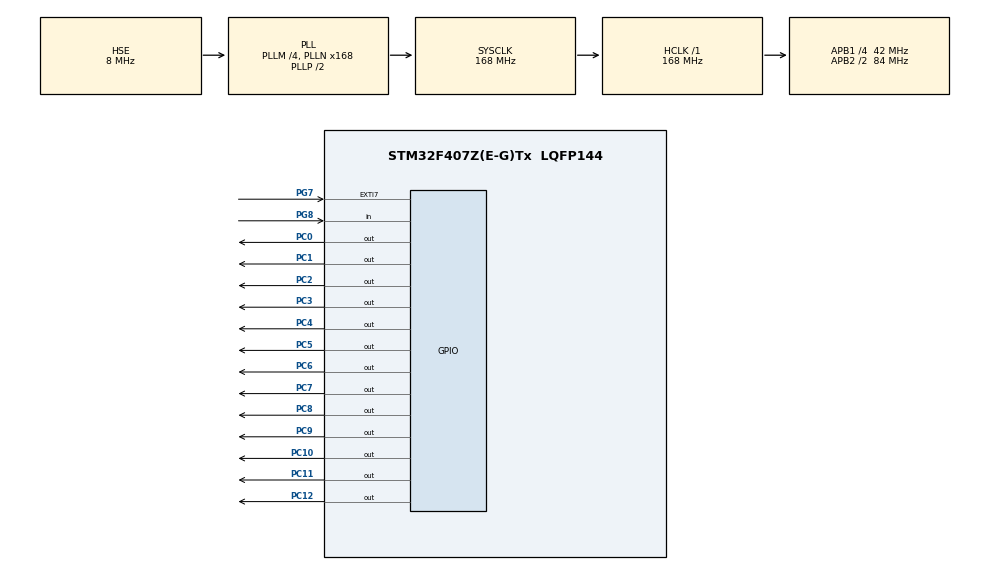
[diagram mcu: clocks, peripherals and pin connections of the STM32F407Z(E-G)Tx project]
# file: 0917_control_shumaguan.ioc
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Mcu.Family=STM32F4
Mcu.Name=STM32F407Z(E-G)Tx
Mcu.Package=LQFP144
NVIC.PriorityGroup=NVIC_PRIORITYGROUP_4
PA13.Mode=Serial_Wire
PA13.Signal=SYS_JTMS-SWDIO
PA14.Mode=Serial_Wire
PA14.Signal=SYS_JTCK-SWCLK
PC0.GPIO_Speed=GPIO_SPEED_FREQ_HIGH
PC0.Signal=GPIO_Output
PC1.GPIO_Speed=GPIO_SPEED_FREQ_HIGH
PC1.Signal=GPIO_Output
PC10.GPIO_Speed=GPIO_SPEED_FREQ_HIGH
PC10.Signal=GPIO_Output
PC11.GPIO_Speed=GPIO_SPEED_FREQ_HIGH
PC11.Signal=GPIO_Output
PC12.GPIO_Speed=GPIO_SPEED_FREQ_HIGH
PC12.Signal=GPIO_Output
PC2.GPIO_Speed=GPIO_SPEED_FREQ_HIGH
PC2.Signal=GPIO_Output
PC3.GPIO_Speed=GPIO_SPEED_FREQ_HIGH
PC3.Signal=GPIO_Output
PC4.GPIO_Speed=GPIO_SPEED_FREQ_HIGH
PC4.Signal=GPIO_Output
PC5.GPIO_Speed=GPIO_SPEED_FREQ_HIGH
PC5.Signal=GPIO_Output
PC6.GPIO_Speed=GPIO_SPEED_FREQ_HIGH
PC6.Signal=GPIO_Output
PC7.GPIO_Speed=GPIO_SPEED_FREQ_HIGH
PC7.Signal=GPIO_Output
PC8.GPIO_Speed=GPIO_SPEED_FREQ_HIGH
PC8.Signal=GPIO_Output
PC9.GPIO_Speed=GPIO_SPEED_FREQ_HIGH
PC9.Signal=GPIO_Output
PG7.GPIO_PuPd=GPIO_PULLDOWN
PG7.Signal=GPXTI7
PG8.GPIO_PuPd=GPIO_PULLDOWN
PG8.Signal=GPIO_Input
PH0-OSC_IN.Mode=HSE-External-Oscillator
PH0-OSC_IN.Signal=RCC_OSC_IN
PH1-OSC_OUT.Mode=HSE-External-Oscillator
PH1-OSC_OUT.Signal=RCC_OSC_OUT
ProjectManager.HeapSize=0x200
ProjectManager.StackSize=0x400
ProjectManager.TargetToolchain=CMake
RCC.48MHZClocksFreq_Value=84000000
RCC.AHBFreq_Value=168000000
RCC.APB1CLKDivider=RCC_HCLK_DIV4
RCC.APB1Freq_Value=42000000
RCC.APB1TimFreq_Value=84000000
RCC.APB2CLKDivider=RCC_HCLK_DIV2
RCC.APB2Freq_Value=84000000
RCC.APB2TimFreq_Value=168000000
RCC.CortexFreq_Value=168000000
RCC.HCLKFreq_Value=168000000
RCC.HSE_VALUE=8000000
RCC.HSI_VALUE=16000000
RCC.LSE_VALUE=32768
RCC.PLLM=4
RCC.PLLN=168
RCC.PLLSourceVirtual=RCC_PLLSOURCE_HSE
RCC.SYSCLKFreq_VALUE=168000000
RCC.SYSCLKSource=RCC_SYSCLKSOURCE_PLLCLK
RCC.VCOOutputFreq_Value=336000000
board=custom

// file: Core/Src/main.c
/* USER CODE BEGIN Header */
/**
  ******************************************************************************
  * @file           : main.c
  * @brief          : Main program body
  ******************************************************************************
  * @attention
  *
  * Copyright (c) 2025 STMicroelectronics.
  * All rights reserved.
  *
  * This software is licensed under terms that can be found in the LICENSE file
  * in the root directory of this software component.
  * If no LICENSE file comes with this software, it is provided AS-IS.
  *
  ******************************************************************************
  */
/* USER CODE END Header */
#include "main.h"
#include "gpio.h"

/* USER CODE BEGIN Includes */

#include <stdbool.h>

#include "6Bit_SegDisplay.h"
/* USER CODE END Includes */

/* USER CODE BEGIN PM */
void Seg_Control(uint16_t Wei,uint16_t Duan);
void Seg_Display(uint16_t a,uint16_t b,uint16_t c,uint16_t d,uint16_t e,uint16_t f);
void Time_Control(uint64_t Time_Value);
/* USER CODE END PM */

/* USER CODE BEGIN PV */
uint16_t count=0;

/* USER CODE END PV */

void SystemClock_Config(void);

/* USER CODE BEGIN 0 */

bool Key_Read(void)
{
	//uint16_t start_time=0;
	bool Key_Val=false;

	if(HAL_GPIO_ReadPin(GPIOG,GPIO_PIN_8)==GPIO_PIN_SET){
		HAL_Delay(15);
		while(HAL_GPIO_ReadPin(GPIOG,GPIO_PIN_8)==GPIO_PIN_SET){
			Seg_Display(count/100000%10,count/10000%10,count/1000%10,count/100%10,count/10%10,count%10);
		}
		HAL_Delay(15);
		Key_Val=true;
	}

	return Key_Val;
}

bool Key1_Read(void)
{
	//uint16_t start_time=0;
	bool Key_Val=false;

	if(HAL_GPIO_ReadPin(GPIOG,GPIO_PIN_7)==GPIO_PIN_SET){
		HAL_Delay(15);
		while(HAL_GPIO_ReadPin(GPIOG,GPIO_PIN_7)==GPIO_PIN_SET){
			Seg_Display(count/100000%10,count/10000%10,count/1000%10,count/100%10,count/10%10,count%10);
		}
		HAL_Delay(15);
		Key_Val=true;
	}

	return Key_Val;
}
uint8_t zhenzhi[16]={0x3F,0x06,0x5B,0x4F,0x66,0x6D,0x7D,0x07,0x7F,0x6F,0x77,0x7C,0x39,0x5E,0x79,0x71};

void Seg_Control(uint16_t Wei,uint16_t Duan)
{
	HAL_GPIO_WritePin(GPIOC,GPIO_DuanXuan,GPIO_PIN_SET);

	uint16_t temp;
	temp=GPIOC->ODR;
	temp&=0x003f;
	temp|=zhenzhi[Duan]<<6;
	GPIOC->ODR=temp;

	HAL_GPIO_WritePin(GPIOG,GPIO_Point,GPIO_PIN_RESET);

	switch(Wei){
		case 0:
			HAL_GPIO_WritePin(GPIOC,Seg_bit0,GPIO_PIN_RESET);
			HAL_GPIO_WritePin(GPIOG,GPIO_Point,GPIO_PIN_SET);
		break;

		case 1:
			HAL_GPIO_WritePin(GPIOC,Seg_bit1,GPIO_PIN_RESET);
			HAL_GPIO_WritePin(GPIOG,GPIO_Point,GPIO_PIN_SET);
		break;

		case 2:
			HAL_GPIO_WritePin(GPIOC,Seg_bit2,GPIO_PIN_RESET);
			HAL_GPIO_WritePin(GPIOG,GPIO_Point,GPIO_PIN_SET);
		break;

		case 3:
			HAL_GPIO_WritePin(GPIOC,Seg_bit3,GPIO_PIN_RESET);
			HAL_GPIO_WritePin(GPIOG,GPIO_Point,GPIO_PIN_SET);
		break;

		case 4:
			HAL_GPIO_WritePin(GPIOC,Seg_bit4,GPIO_PIN_RESET);
			HAL_GPIO_WritePin(GPIOG,GPIO_Point,GPIO_PIN_RESET);
		break;

		case 5:
			HAL_GPIO_WritePin(GPIOC,Seg_bit5,GPIO_PIN_RESET);
			HAL_GPIO_WritePin(GPIOG,GPIO_Point,GPIO_PIN_SET);
		break;
	}
}

void Seg_Display(uint16_t a,uint16_t b,uint16_t c,uint16_t d,uint16_t e,uint16_t f)
{
		Seg_Control(0,a);
		HAL_Delay(2);
		Seg_Control(1,b);
		HAL_Delay(2);
		Seg_Control(2,c);
		HAL_Delay(2);
		Seg_Control(3,d);
		HAL_Delay(2);
		Seg_Control(4,e);
		HAL_Delay(2);
		Seg_Control(5,f);
		HAL_Delay(2);
}

void Time_Control(uint64_t Time_Value)
{

    uint8_t hour = (Time_Value / 10000) % 100;
    uint8_t minute = (Time_Value / 100) % 100;
    uint8_t second = Time_Value % 100;

    if (hour >= 24) hour = 0;
    if (minute >= 60) minute = 0;
    if (second >= 60) second = 0;

    while (1)
    {

        uint8_t H0 = hour / 10;
        uint8_t H1 = hour % 10;
        uint8_t M0 = minute / 10;
        uint8_t M1 = minute % 10;
        uint8_t S0 = second / 10;
        uint8_t S1 = second % 10;

        for (int i = 0; i < 83; i++){
            Seg_Display(H0, H1, M0, M1, S0, S1);
        }

        HAL_Delay(2);

        second++;

        if (second >= 60){
            second = 0;
            minute++;
            if (minute >= 60){
                minute = 0;
                hour++;
                if (hour >= 24){
                    hour = 0;
                }
            }
        }
    }
}

/* USER CODE END 0 */

int main(void)
{

  /* MCU Configuration--------------------------------------------------------*/

  /* Reset of all peripherals, Initializes the Flash interface and the Systick. */
  HAL_Init();

  /* Configure the system clock */
  SystemClock_Config();

  /* Initialize all configured peripherals */
  MX_GPIO_Init();

  /* Infinite loop */
  while (1)
  {

    /* USER CODE BEGIN 3 */
		if(Key_Read()){
			count++;
		}
  	if (Key1_Read())
  		count--;
		Seg_Display(count/100000%10, count/10000%10, count/1000%10,count/100%10, count/10%10, count%10);
  }
  /* USER CODE END 3 */
}

void SystemClock_Config(void)
{
  RCC_OscInitTypeDef RCC_OscInitStruct = {0};
  RCC_ClkInitTypeDef RCC_ClkInitStruct = {0};

  /** Configure the main internal regulator output voltage
  */
  __HAL_RCC_PWR_CLK_ENABLE();
  __HAL_PWR_VOLTAGESCALING_CONFIG(PWR_REGULATOR_VOLTAGE_SCALE1);

  /** Initializes the RCC Oscillators according to the specified parameters
  * in the RCC_OscInitTypeDef structure.
  */
  RCC_OscInitStruct.OscillatorType = RCC_OSCILLATORTYPE_HSE;
  RCC_OscInitStruct.HSEState = RCC_HSE_ON;
  RCC_OscInitStruct.PLL.PLLState = RCC_PLL_ON;
  RCC_OscInitStruct.PLL.PLLSource = RCC_PLLSOURCE_HSE;
  RCC_OscInitStruct.PLL.PLLM = 4;
  RCC_OscInitStruct.PLL.PLLN = 168;
  RCC_OscInitStruct.PLL.PLLP = RCC_PLLP_DIV2;
  RCC_OscInitStruct.PLL.PLLQ = 4;
  if (HAL_RCC_OscConfig(&RCC_OscInitStruct) != HAL_OK)
  {
    Error_Handler();
  }

  /** Initializes the CPU, AHB and APB buses clocks
  */
  RCC_ClkInitStruct.ClockType = RCC_CLOCKTYPE_HCLK|RCC_CLOCKTYPE_SYSCLK
                              |RCC_CLOCKTYPE_PCLK1|RCC_CLOCKTYPE_PCLK2;
  RCC_ClkInitStruct.SYSCLKSource = RCC_SYSCLKSOURCE_PLLCLK;
  RCC_ClkInitStruct.AHBCLKDivider = RCC_SYSCLK_DIV1;
  RCC_ClkInitStruct.APB1CLKDivider = RCC_HCLK_DIV4;
  RCC_ClkInitStruct.APB2CLKDivider = RCC_HCLK_DIV2;

  if (HAL_RCC_ClockConfig(&RCC_ClkInitStruct, FLASH_LATENCY_5) != HAL_OK)
  {
    Error_Handler();
  }
}

void Error_Handler(void)
{
  __disable_irq();
  while (1)
  {
  }
}
